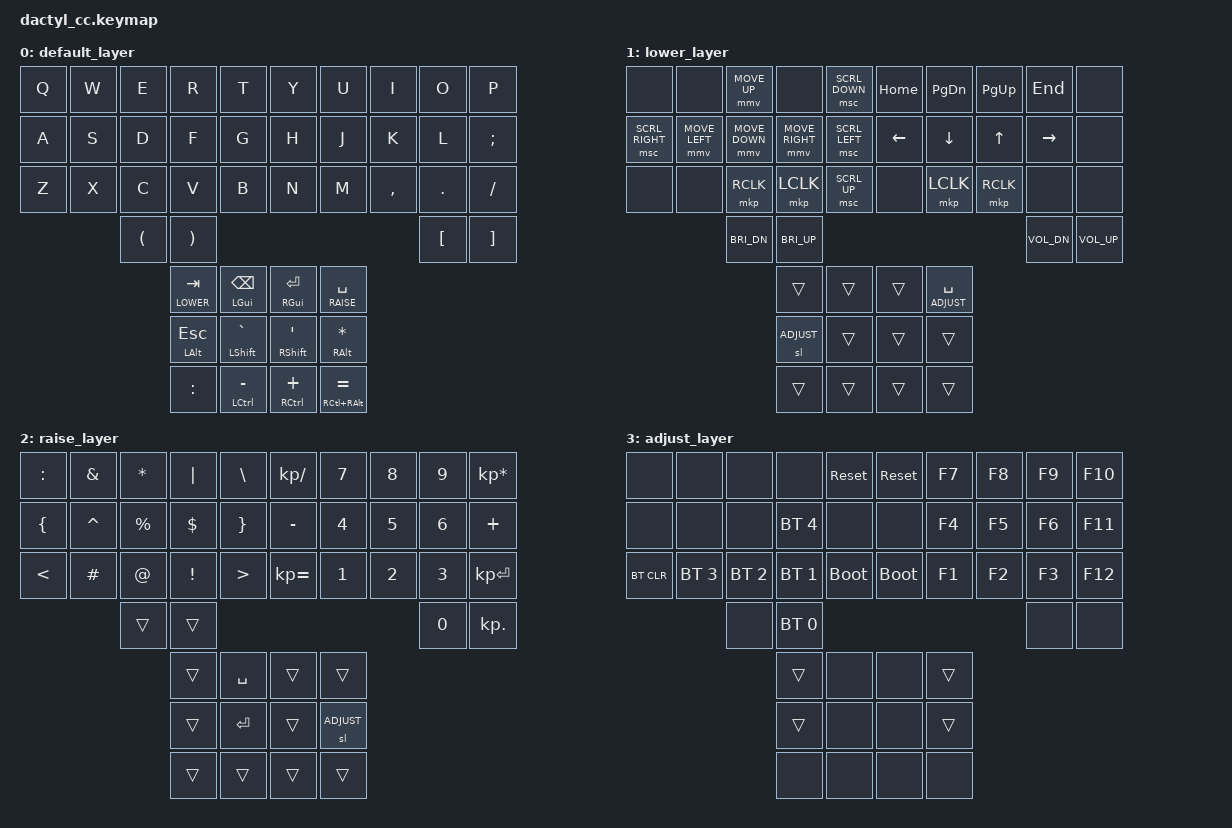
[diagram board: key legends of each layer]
#include <behaviors.dtsi>
#include <dt-bindings/zmk/keys.h>
#include <dt-bindings/zmk/bt.h>
#include <dt-bindings/zmk/outputs.h>

#define ZMK_POINTING_DEFAULT_MOVE_VAL 4000 /* <--- New max speed setting (default: 600) */
#define ZMK_POINTING_DEFAULT_SCRL_VAL 30 /* <--- New max speed setting (default: 10) */
#include <dt-bindings/zmk/pointing.h>

#define DEFAULT 0
#define LOWER   1
#define RAISE   2
#define ADJUST  3

#define HYPER(key) LS(LC(LA(LG(key))))
#define MEH(key)   LS(LC(LA(key)))

&mmv {
	time-to-max-speed-ms = <500>; /* <--- How long time until max speed is reached (default: 500) */
    acceleration-exponent = <1>;
};

&msc {
	time-to-max-speed-ms = <500>; /* <--- How long time until max speed is reached (default: 500) */
    acceleration-exponent = <1>;
};

/ {
    keymap {
        compatible = "zmk,keymap";

        default_layer {
            bindings = <
                &kp Q           &kp W           &kp E           &kp R           &kp T               &kp Y           &kp U           &kp I           &kp O           &kp P
                &kp A           &kp S           &kp D           &kp F           &kp G               &kp H           &kp J           &kp K           &kp L           &kp SEMI
                &kp Z           &kp X           &kp C           &kp V           &kp B               &kp N           &kp M           &kp COMMA       &kp DOT         &kp FSLH
                                                &kp LPAR        &kp RPAR                                                                            &kp LBKT        &kp RBKT
                                                                &lt LOWER TAB   &mt LGUI BSPC       &mt RGUI RET    &lt RAISE SPACE
                                                                &mt LALT ESC    &mt LSHIFT GRAVE    &mt RSHIFT SQT  &mt RALT STAR
                                                                &kp COLON       &mt LCTRL MINUS     &mt RCTRL PLUS  &mt RC(RALT) EQUAL
            >;
        };
        lower_layer {
            bindings = <
                &none           &none           &mmv MOVE_UP    &none           &msc SCRL_DOWN      &kp HOME        &kp PG_DN       &kp PG_UP       &kp END         &none
                &msc SCRL_RIGHT &mmv MOVE_LEFT  &mmv MOVE_DOWN  &mmv MOVE_RIGHT &msc SCRL_LEFT      &kp LEFT        &kp DOWN        &kp UP          &kp RIGHT       &none
                &none           &none           &mkp RCLK       &mkp LCLK       &msc SCRL_UP        &none           &mkp LCLK       &mkp RCLK       &none           &none
                                                &kp C_BRI_DN    &kp C_BRI_UP                                                                        &kp C_VOL_DN    &kp C_VOL_UP
                                                                &trans          &trans              &trans          &lt ADJUST SPACE
                                                                &sl ADJUST      &trans              &trans          &trans
                                                                &trans          &trans              &trans          &trans
            >;
        };
        raise_layer {
            bindings = <
                &kp COLON       &kp AMPERSAND   &kp ASTERISK    &kp PIPE        &kp BSLH            &kp KP_DIVIDE   &kp N7          &kp N8          &kp N9          &kp KP_MULTIPLY
                &kp LBRC        &kp CARET       &kp PERCENT     &kp DOLLAR      &kp RBRC            &kp MINUS       &kp N4          &kp N5          &kp N6          &kp PLUS
                &kp LT          &kp HASH        &kp AT          &kp EXCL        &kp GT              &kp KP_EQUAL    &kp N1          &kp N2          &kp N3          &kp KP_ENTER
                                                &trans          &trans                                                                              &kp N0          &kp KP_DOT
                                                                &trans          &kp SPACE           &trans          &trans
                                                                &trans          &kp RET             &trans          &sl ADJUST
                                                                &trans          &trans              &trans          &trans
            >;
        };
        adjust_layer {
            bindings = <
                &none           &none           &none           &none           &sys_reset          &sys_reset      &kp F7          &kp F8          &kp F9          &kp F10
                &none           &none           &none           &bt BT_SEL 4    &none               &none           &kp F4          &kp F5          &kp F6          &kp F11
                &bt BT_CLR      &bt BT_SEL 3    &bt BT_SEL 2    &bt BT_SEL 1    &bootloader         &bootloader     &kp F1          &kp F2          &kp F3          &kp F12
                                                &none           &bt BT_SEL 0                                                                        &none           &none
                                                                &trans          &none               &none           &trans
                                                                &trans          &none               &none           &trans
                                                                &none           &none               &none           &none
            >;
        };
    };
};
